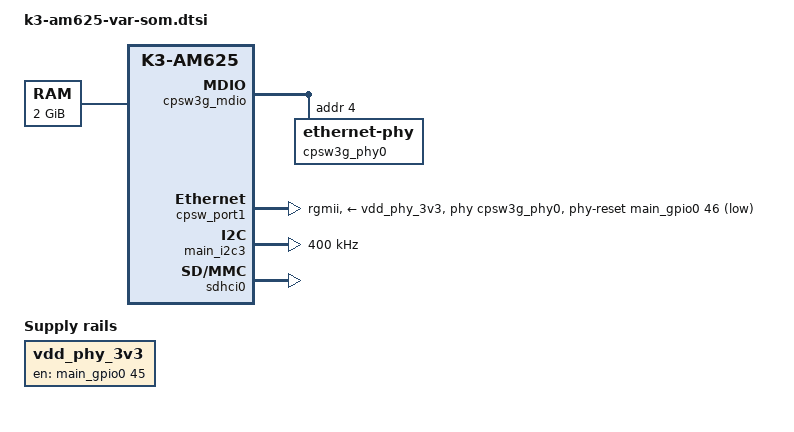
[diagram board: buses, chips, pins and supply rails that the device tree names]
// SPDX-License-Identifier: GPL-2.0
/*
 * dtsi for VAR-SOM-AM62 and derivatives
 *
 * Copyright (C) 2021-2022 Texas Instruments Incorporated - https://www.ti.com/
 * Copyright (C) 2023-2024 Variscite Ltd. - https://www.variscite.com/
 */

/dts-v1/;

#include <dt-bindings/leds/common.h>
#include <dt-bindings/gpio/gpio.h>
#include "k3-am625.dtsi"

/ {
	aliases {
		serial2 = &main_uart0;
		mmc0 = &sdhci0;
		mmc1 = &sdhci1;
		mmc2 = &sdhci2;
		usb0 = &usb0;
		usb1 = &usb1;
		remoteproc0 = &mcu_m4fss;
	};

	memory@80000000 {
		device_type = "memory";
		/* 2G RAM */
		reg = <0x00000000 0x80000000 0x00000000 0x80000000>;

	};

	opp-table {
		/* Add 1.4GHz OPP for VAR-SOM-AM62 board. Requires VDD_CORE to be at 0.85V */
		opp-1400000000 {
			opp-hz = /bits/ 64 <1400000000>;
			opp-supported-hw = <0x01 0x0004>;
			clock-latency-ns = <6000000>;
		};
	};

	reserved-memory {
		#address-cells = <2>;
		#size-cells = <2>;
		ranges;

		ramoops@9ca00000 {
			compatible = "ramoops";
			reg = <0x00 0x9ca00000 0x00 0x00100000>;
			record-size = <0x8000>;
			console-size = <0x8000>;
			ftrace-size = <0x00>;
			pmsg-size = <0x8000>;
		};

		secure_tfa_ddr: tfa@9e780000 {
			reg = <0x00 0x9e780000 0x00 0x80000>;
			alignment = <0x1000>;
			no-map;
		};

		secure_ddr: optee@9e800000 {
			reg = <0x00 0x9e800000 0x00 0x01800000>; /* for OP-TEE */
			alignment = <0x1000>;
			no-map;
		};

		mcu_m4fss_dma_memory_region: m4f-dma-memory@9cb00000 {
			compatible = "shared-dma-pool";
			reg = <0x00 0x9cb00000 0x00 0x100000>;
			no-map;
		};

		mcu_m4fss_memory_region: m4f-memory@9cc00000 {
			compatible = "shared-dma-pool";
			reg = <0x00 0x9cc00000 0x00 0xe00000>;
			no-map;
		};

		wkup_r5fss0_core0_dma_memory_region: r5f-dma-memory@9da00000 {
			compatible = "shared-dma-pool";
			reg = <0x00 0x9da00000 0x00 0x00100000>;
			no-map;
		};

		wkup_r5fss0_core0_memory_region: r5f-memory@9db00000 {
			compatible = "shared-dma-pool";
			reg = <0x00 0x9db00000 0x00 0x00c00000>;
			no-map;
		};
	};

	vdd_phy_3v3: regulator-phy-vdd {
		compatible = "regulator-fixed";
		regulator-name = "vdd_phy_3v3";
		gpio = <&main_gpio0 45 GPIO_ACTIVE_HIGH>;
		enable-active-high;
		regulator-always-on;
		status="okay";
	};
};

&cpsw3g {
	pinctrl-names = "default";
	pinctrl-0 = <&main_mdio1_pins_default
		     &main_rgmii1_pins_default
		     &main_rgmii2_pins_default>;
};

&cpsw3g_mdio {
	status = "okay";
	cpsw3g_phy0: ethernet-phy@4 {
		reg = <4>;
	};
};

&cpsw_port1 {
	phy-supply = <&vdd_phy_3v3>;
	phy-reset-gpios = <&main_gpio0 46 GPIO_ACTIVE_LOW>;
	phy-reset-duration = <10>;
	phy-reset-post-delay = <20>;
	phy-mode = "rgmii";
	phy-handle = <&cpsw3g_phy0>;
	status = "okay";
};

&mailbox0_cluster0 {
	mbox_m4_0: mbox-m4-0 {
		ti,mbox-rx = <0 0 0>;
		ti,mbox-tx = <1 0 0>;
	};
};

&main_i2c3 {
	pinctrl-names = "default";
	pinctrl-0 = <&main_i2c3_pins_default>;
	clock-frequency = <400000>;
	status = "okay";
};

&main_pmx0 {
	main_i2c3_pins_default: main-i2c3-pins-default {
		pinctrl-single,pins = <
			AM62X_IOPAD(0x01d0, PIN_INPUT_PULLUP, 2) /* (A15) UART0_CTSn.I2C3_SCL */
			AM62X_IOPAD(0x01d4, PIN_INPUT_PULLUP, 2) /* (B15) UART0_RTSn.I2C3_SDA */
		>;
	};

	main_mdio1_pins_default: main-mdio1-pins-default {
		pinctrl-single,pins = <
			AM62X_IOPAD(0x160, PIN_OUTPUT, 0) /* (AD24) MDIO0_MDC */
			AM62X_IOPAD(0x15c, PIN_INPUT, 0) /* (AB22) MDIO0_MDIO */
		>;
	};

	main_mmc0_pins_default: main-mmc0-pins-default {
		pinctrl-single,pins = <
			AM62X_IOPAD(0x220, PIN_INPUT, 0) /* (Y3) MMC0_CMD */
			AM62X_IOPAD(0x218, PIN_INPUT, 0) /* (AB1) MMC0_CLK */
			AM62X_IOPAD(0x214, PIN_INPUT, 0) /* (AA2) MMC0_DAT0 */
			AM62X_IOPAD(0x210, PIN_INPUT, 0) /* (AA1) MMC0_DAT1 */
			AM62X_IOPAD(0x20c, PIN_INPUT, 0) /* (AA3) MMC0_DAT2 */
			AM62X_IOPAD(0x208, PIN_INPUT, 0) /* (Y4) MMC0_DAT3 */
			AM62X_IOPAD(0x204, PIN_INPUT, 0) /* (AB2) MMC0_DAT4 */
			AM62X_IOPAD(0x200, PIN_INPUT, 0) /* (AC1) MMC0_DAT5 */
			AM62X_IOPAD(0x1fc, PIN_INPUT, 0) /* (AD2) MMC0_DAT6 */
			AM62X_IOPAD(0x1f8, PIN_INPUT, 0) /* (AC2) MMC0_DAT7 */
		>;
	};

	main_rgmii1_pins_default: main-rgmii1-pins-default {
		pinctrl-single,pins = <
			AM62X_IOPAD(0x14c, PIN_INPUT, 0) /* (AB17) RGMII1_RD0 */
			AM62X_IOPAD(0x150, PIN_INPUT, 0) /* (AC17) RGMII1_RD1 */
			AM62X_IOPAD(0x154, PIN_INPUT, 0) /* (AB16) RGMII1_RD2 */
			AM62X_IOPAD(0x158, PIN_INPUT, 0) /* (AA15) RGMII1_RD3 */
			AM62X_IOPAD(0x148, PIN_INPUT, 0) /* (AD17) RGMII1_RXC */
			AM62X_IOPAD(0x144, PIN_INPUT, 0) /* (AE17) RGMII1_RX_CTL */
			AM62X_IOPAD(0x134, PIN_INPUT, 0) /* (AE20) RGMII1_TD0 */
			AM62X_IOPAD(0x138, PIN_INPUT, 0) /* (AD20) RGMII1_TD1 */
			AM62X_IOPAD(0x13c, PIN_INPUT, 0) /* (AE18) RGMII1_TD2 */
			AM62X_IOPAD(0x140, PIN_INPUT, 0) /* (AD18) RGMII1_TD3 */
			AM62X_IOPAD(0x130, PIN_INPUT, 0) /* (AE19) RGMII1_TXC */
			AM62X_IOPAD(0x12c, PIN_INPUT, 0) /* (AD19) RGMII1_TX_CTL */
			AM62X_IOPAD(0x00bc, PIN_INPUT, 7) /* (V24) VOUT0_DATA1.GPIO0_46 */
			AM62X_IOPAD(0x00b8, PIN_INPUT, 7) /* (U22) VOUT0_DATA0.GPIO0_45 */
		>;
	};

	main_rgmii2_pins_default: main-rgmii2-pins-default {
		pinctrl-single,pins = <
			AM62X_IOPAD(0x184, PIN_INPUT, 0) /* (AE23) RGMII2_RD0 */
			AM62X_IOPAD(0x188, PIN_INPUT, 0) /* (AB20) RGMII2_RD1 */
			AM62X_IOPAD(0x18c, PIN_INPUT, 0) /* (AC21) RGMII2_RD2 */
			AM62X_IOPAD(0x190, PIN_INPUT, 0) /* (AE22) RGMII2_RD3 */
			AM62X_IOPAD(0x180, PIN_INPUT, 0) /* (AD23) RGMII2_RXC */
			AM62X_IOPAD(0x17c, PIN_INPUT, 0) /* (AD22) RGMII2_RX_CTL */
			AM62X_IOPAD(0x16c, PIN_INPUT, 0) /* (Y18) RGMII2_TD0 */
			AM62X_IOPAD(0x170, PIN_INPUT, 0) /* (AA18) RGMII2_TD1 */
			AM62X_IOPAD(0x174, PIN_INPUT, 0) /* (AD21) RGMII2_TD2 */
			AM62X_IOPAD(0x178, PIN_INPUT, 0) /* (AC20) RGMII2_TD3 */
			AM62X_IOPAD(0x168, PIN_INPUT_PULLDOWN, 0) /* (AE21) RGMII2_TXC */
			AM62X_IOPAD(0x164, PIN_INPUT, 0) /* (AA19) RGMII2_TX_CTL */
		>;
	};
};

/* eMMC */
&sdhci0 {
	status = "okay";
	pinctrl-names = "default";
	pinctrl-0 = <&main_mmc0_pins_default>;
	ti,driver-strength-ohm = <50>;
	disable-wp;
};
